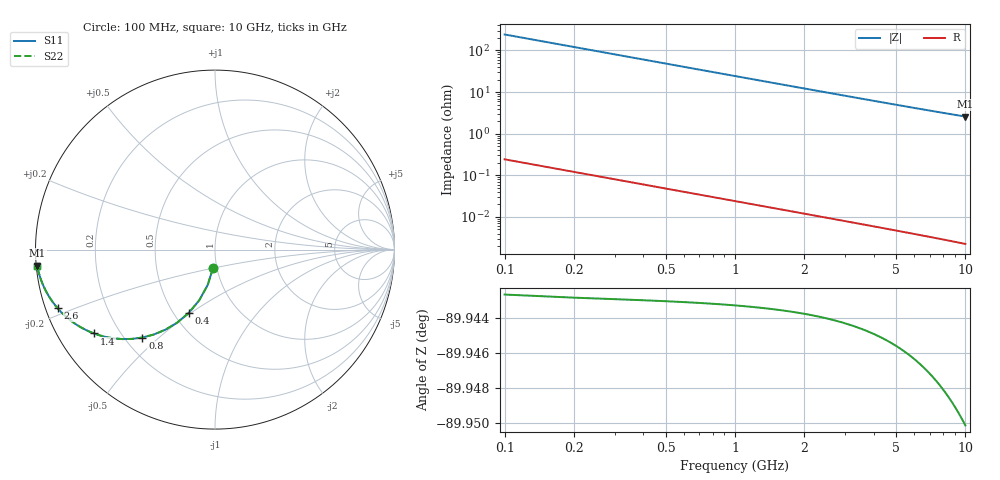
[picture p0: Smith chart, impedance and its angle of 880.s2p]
# Hz S RI R 50.00
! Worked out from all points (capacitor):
!   100 points, 100 MHz to 10 GHz, reference 50 ohm
!   read as one part in shunt: C = 6.57 pF near 100 MHz
!   lowest |Z| = 2.58 ohm at 10 GHz (marker M1)
!   S11 on the Smith chart (normalised r, x): 100 MHz: 0.96, -0.20; 400 MHz: 0.59, -0.49; 800 MHz: 0.27, -0.44; 1.4 GHz: 0.11, -0.31; 2.6 GHz: 0.03, -0.18; 10 GHz: 0.00, -0.04
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1e8  -0.0106 -0.1021  0.9893 -0.1022  0.9893 -0.1022  -0.0106 -0.1021
2e8  -0.041 -0.1978  0.9589 -0.198  0.9589 -0.198  -0.041 -0.1978
3e8  -0.0877 -0.2822  0.9123 -0.2825  0.9123 -0.2825  -0.0877 -0.2822
4e8  -0.1458 -0.3521  0.8542 -0.3526  0.8542 -0.3526  -0.1458 -0.3521
5e8  -0.2103 -0.4067  0.7896 -0.4074  0.7896 -0.4074  -0.2103 -0.4067
6e8  -0.277 -0.4467  0.7229 -0.4474  0.7229 -0.4474  -0.277 -0.4467
7e8  -0.3426 -0.4736  0.6574 -0.4745  0.6574 -0.4745  -0.3426 -0.4736
8e8  -0.4048 -0.4898  0.5952 -0.4909  0.5952 -0.4909  -0.4048 -0.4898
9e8  -0.4624 -0.4975  0.5376 -0.4987  0.5376 -0.4987  -0.4624 -0.4975
1.1e9  -0.5619 -0.4949  0.438 -0.4964  0.438 -0.4964  -0.5619 -0.4949
1.2e9  -0.604 -0.4878  0.396 -0.4893  0.396 -0.4893  -0.604 -0.4878
1.4e9  -0.6746 -0.4671  0.3254 -0.4689  0.3254 -0.4689  -0.6746 -0.4671
1.6e9  -0.73 -0.4424  0.27 -0.4445  0.27 -0.4445  -0.73 -0.4424
1.8e9  -0.7736 -0.4168  0.2263 -0.4191  0.2263 -0.4191  -0.7736 -0.4168
2.2e9  -0.8359 -0.3684  0.1641 -0.3713  0.1641 -0.3713  -0.8359 -0.3684
2.6e9  -0.8765 -0.3268  0.1235 -0.3302  0.1235 -0.3302  -0.8765 -0.3268
3.4e9  -0.9236 -0.2628  0.0763 -0.2673  0.0763 -0.2673  -0.9236 -0.2628
4.2e9  -0.9485 -0.2176  0.0514 -0.2232  0.0514 -0.2232  -0.9485 -0.2176
5.1e9  -0.9645 -0.1811  0.0355 -0.188  0.0355 -0.188  -0.9645 -0.1811
6.7e9  -0.9791 -0.1378  0.0208 -0.1468  0.0208 -0.1468  -0.9791 -0.1378
8.4e9  -0.9867 -0.1082  0.0132 -0.1196  0.0132 -0.1196  -0.9867 -0.1082
1e10  -0.9906 -0.0886  0.00925 -0.1024  0.00925 -0.1024  -0.9906 -0.0886
